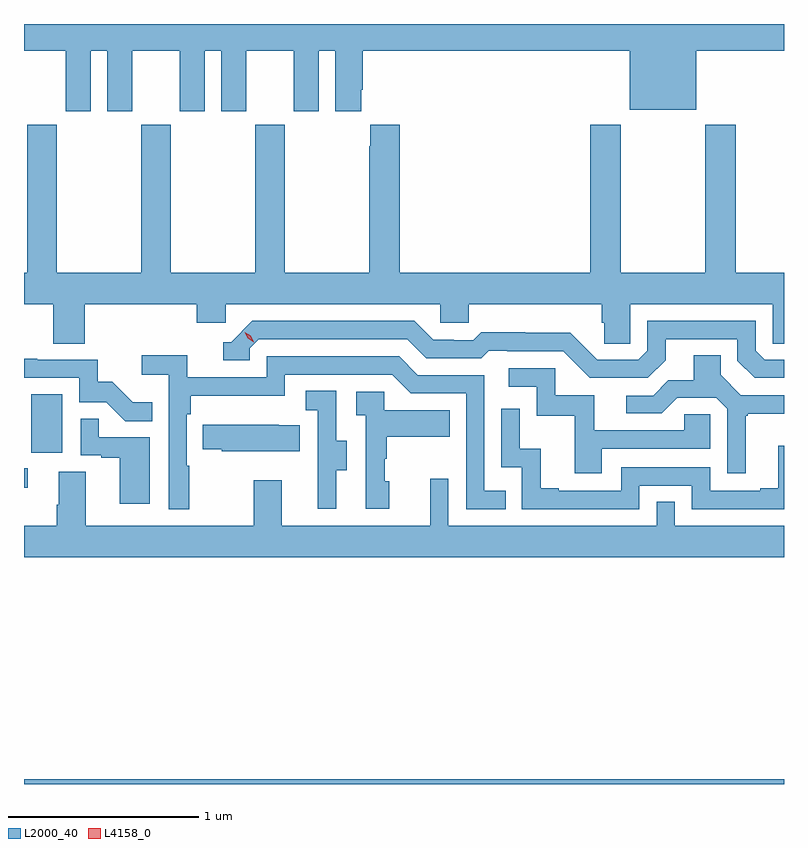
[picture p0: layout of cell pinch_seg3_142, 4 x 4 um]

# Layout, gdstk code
import gdstk
lib = gdstk.Library(unit=1e-6, precision=1e-09)
def R(c, l, rs):  # rectangles x0, y0, x1, y1
    for r in rs: c.add(gdstk.rectangle(r[:2], r[2:], *l))
def P(c, l, *ps):  # polygons
    for p in ps: c.add(gdstk.Polygon(p, *l))
L2000_40 = (2000, 40)
L4158_0 = (4158, 0)

pinch_seg3_142 = lib.new_cell('pinch_seg3_142')
R(pinch_seg3_142, L2000_40, [(1125.433,725.03,1129.433,725.056), (1125.433,726.588,1125.454,726.693), (1125.47,726.774,1125.634,727.081)])
P(pinch_seg3_142, L2000_40, [(1125.784,728.888),(1125.872,728.888),(1125.872,728.571),(1126.003,728.571),(1126.003,728.888),(1126.253,728.888),(1126.253,728.571),(1126.384,728.571),(1126.384,728.888),(1126.472,728.888),(1126.472,728.571),(1126.603,728.571),(1126.603,728.888),(1126.853,728.888),(1126.853,728.571),(1126.984,728.571),(1126.984,728.888),(1127.072,728.888),(1127.072,728.571),(1127.209,728.571),(1127.209,728.683),(1127.216,728.683),(1127.216,728.888),(1128.62,728.888),(1128.62,728.579),(1128.97,728.579),(1128.97,728.888),(1129.433,728.888),(1129.433,729.03),(1125.433,729.03),(1125.433,728.888),(1125.653,728.888),(1125.653,728.571),(1125.784,728.571)],
  [(1125.752,727.556),(1126.343,727.556),(1126.343,727.458),(1126.494,727.458),(1126.494,727.556),(1127.625,727.556),(1127.625,727.458),(1127.775,727.458),(1127.775,727.556),(1128.473,727.556),(1128.473,727.458),(1128.487,727.458),(1128.487,727.348),(1128.624,727.348),(1128.624,727.556),(1129.374,727.556),(1129.374,727.348),(1129.433,727.348),(1129.433,727.72),(1129.178,727.72),(1129.178,728.5),(1129.018,728.5),(1129.018,727.72),(1128.573,727.72),(1128.573,728.5),(1128.413,728.5),(1128.413,727.72),(1127.411,727.72),(1127.411,728.5),(1127.255,728.5),(1127.255,728.387),(1127.251,728.387),(1127.251,727.72),(1126.806,727.72),(1126.806,728.5),(1126.651,728.5),(1126.651,727.72),(1126.206,727.72),(1126.206,728.5),(1126.051,728.5),(1126.051,727.72),(1125.606,727.72),(1125.606,728.5),(1125.451,728.5),(1125.451,727.72),(1125.433,727.72),(1125.433,727.556),(1125.587,727.556),(1125.587,727.348),(1125.752,727.348)],
  [(1128.811,727.261),(1128.811,727.371),(1129.188,727.371),(1129.188,727.257),(1129.278,727.167),(1129.433,727.167),(1129.433,727.263),(1129.332,727.263),(1129.284,727.311),(1129.284,727.467),(1128.714,727.467),(1128.714,727.311),(1128.666,727.263),(1128.45,727.263),(1128.308,727.405),(1128.072,727.405),(1128.072,727.408),(1127.839,727.408),(1127.797,727.365),(1127.694,727.365),(1127.694,727.368),(1127.587,727.368),(1127.488,727.467),(1126.635,727.467),(1126.524,727.356),(1126.481,727.356),(1126.481,727.26),(1126.62,727.26),(1126.62,727.323),(1126.668,727.371),(1127.451,727.371),(1127.55,727.272),(1127.839,727.272),(1127.878,727.311),(1127.977,727.311),(1127.977,727.308),(1128.27,727.308),(1128.411,727.167),(1128.717,727.167)],
  [(1129.231,726.969),(1129.243,726.969),(1129.243,726.98),(1129.433,726.98),(1129.433,727.077),(1129.206,727.077),(1129.099,727.184),(1129.099,727.286),(1128.959,727.286),(1128.959,727.154),(1128.824,727.154),(1128.744,727.074),(1128.603,727.074),(1128.603,726.981),(1128.79,726.981),(1128.871,727.062),(1129.077,727.062),(1129.134,727.005),(1129.134,726.666),(1129.231,726.666)],
  [(1126.303,726.704),(1126.29,726.704),(1126.29,726.977),(1126.31,726.977),(1126.31,727.073),(1126.806,727.073),(1126.806,727.185),(1127.37,727.185),(1127.469,727.086),(1127.76,727.086),(1127.76,726.477),(1127.969,726.477),(1127.969,726.573),(1127.856,726.573),(1127.856,727.182),(1127.506,727.182),(1127.407,727.281),(1126.71,727.281),(1126.71,727.17),(1126.292,727.17),(1126.292,727.286),(1126.053,727.286),(1126.053,727.184),(1126.194,727.184),(1126.194,726.477),(1126.303,726.477)],
  [(1126.109,727.039),(1126.005,727.039),(1125.898,727.146),(1125.822,727.146),(1125.822,727.263),(1125.503,727.263),(1125.503,727.268),(1125.433,727.268),(1125.433,727.167),(1125.723,727.167),(1125.723,727.038),(1125.867,727.038),(1125.965,726.94),(1126.109,726.94)],
  [(1128.475,726.795),(1129.044,726.795),(1129.044,726.975),(1128.907,726.975),(1128.907,726.891),(1128.433,726.891),(1128.433,727.077),(1128.228,727.077),(1128.228,727.218),(1127.985,727.218),(1127.985,727.122),(1128.132,727.122),(1128.132,726.969),(1128.331,726.969),(1128.331,726.666),(1128.475,726.666)],
  [(1127.077,726.682),(1127.131,726.682),(1127.131,726.837),(1127.076,726.837),(1127.076,727.1),(1126.917,727.1),(1126.917,726.997),(1126.98,726.997),(1126.98,726.693),(1126.979,726.693),(1126.979,726.48),(1127.077,726.48)],
  [(1127.356,726.624),(1127.331,726.624),(1127.331,726.743),(1127.341,726.743),(1127.341,726.857),(1127.675,726.857),(1127.675,726.997),(1127.328,726.997),(1127.328,727.095),(1127.181,727.095),(1127.181,726.971),(1127.232,726.971),(1127.232,726.48),(1127.356,726.48)],
  [(1128.672,726.6),(1128.948,726.6),(1128.948,726.477),(1129.433,726.477),(1129.433,726.811),(1129.403,726.811),(1129.403,726.586),(1129.307,726.586),(1129.307,726.573),(1129.044,726.573),(1129.044,726.696),(1128.576,726.696),(1128.576,726.573),(1128.247,726.573),(1128.247,726.586),(1128.152,726.586),(1128.152,726.794),(1128.042,726.794),(1128.042,727.006),(1127.946,727.006),(1127.946,726.696),(1128.054,726.696),(1128.054,726.477),(1128.672,726.477)],
  [(1126.096,726.855),(1125.827,726.855),(1125.827,726.953),(1125.732,726.953),(1125.732,726.759),(1125.839,726.759),(1125.839,726.747),(1125.938,726.747),(1125.938,726.504),(1126.096,726.504)],
  [(1126.883,726.919),(1126.775,726.919),(1126.775,726.922),(1126.375,726.922),(1126.375,726.793),(1126.473,726.793),(1126.473,726.782),(1126.883,726.782)],
  [(1129.433,726.388),(1128.858,726.388),(1128.858,726.515),(1128.762,726.515),(1128.762,726.388),(1127.667,726.388),(1127.667,726.637),(1127.57,726.637),(1127.57,726.388),(1126.789,726.388),(1126.789,726.628),(1126.642,726.628),(1126.642,726.388),(1125.757,726.388),(1125.757,726.674),(1125.617,726.674),(1125.617,726.5),(1125.605,726.5),(1125.605,726.388),(1125.433,726.388),(1125.433,726.224),(1129.433,726.224)])
P(pinch_seg3_142, L4158_0, [(1126.642,727.355),(1126.611,727.375),(1126.595,727.407),(1126.595,727.408),(1126.595,727.408),(1126.626,727.388),(1126.642,727.356),(1126.642,727.355)])

lib.write_gds('pinch_seg3_142.gds')
